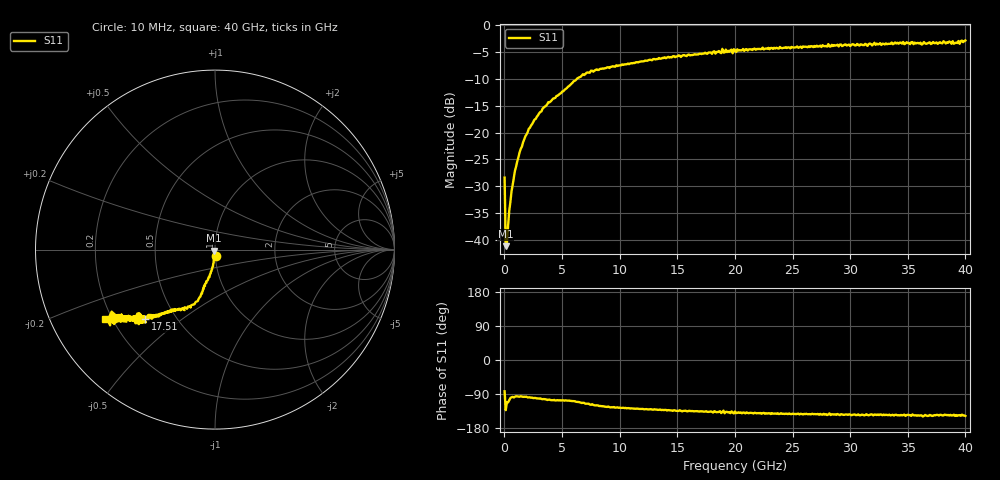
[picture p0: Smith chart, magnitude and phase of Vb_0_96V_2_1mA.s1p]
!Agilent Technologies,N5247A,US51170167,A.09.90.10
!Agilent N5247A: A.09.90.10
!Date: Tuesday, November 22, 2016 15:32:28
!Correction: S22(Full 1 Port(2))
!S1P File: Measurement: S22:
# Hz S  RI  R 50
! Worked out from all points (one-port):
!   401 points, 10 MHz to 40 GHz, reference 50 ohm
!   lowest |S11| = -41.2 dB at 110 MHz (marker M1), VSWR 1.02, Z = 49.4 - j0.639 ohm
!   |S11| at or under -10 dB: start of sweep to 6.272 GHz
!   S11 on the Smith chart (normalised r, x): 10 MHz: 1.01, -0.08; 17.51 GHz: 0.34, -0.37; 40 GHz: 0.17, -0.28
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1e7  0.00488 -0.0378
1.09975e8  -0.0059 -0.00647
3.09925e8  -0.00501 -0.0125
5.09875e8  -0.00408 -0.0221
6.0985e8  -0.00412 -0.028
9.09775e8  -0.0053 -0.0439
1.109725e9  -0.00583 -0.0538
1.309675e9  -0.00784 -0.065
1.909525e9  -0.0115 -0.0954
2.4094e9  -0.0195 -0.1192
3.2092e9  -0.0351 -0.1538
4.009e9  -0.0534 -0.1884
5.00875e9  -0.0681 -0.2322
6.20845e9  -0.1073 -0.2914
7.00825e9  -0.15 -0.3172
8.707825e9  -0.2176 -0.3336
1.00075e10  -0.2466 -0.3447
1.500625e10  -0.3587 -0.3669
1.750562e10  -0.3874 -0.3869
1.910522e10  -0.4316 -0.3557
2.0005e10  -0.4223 -0.4075
2.500375e10  -0.4895 -0.3865
3.00025e10  -0.5183 -0.3777
3.500125e10  -0.5569 -0.3952
3.650088e10  -0.5577 -0.3892
3.80005e10  -0.5655 -0.378
3.900025e10  -0.5466 -0.3933
4e10  -0.6109 -0.3873
